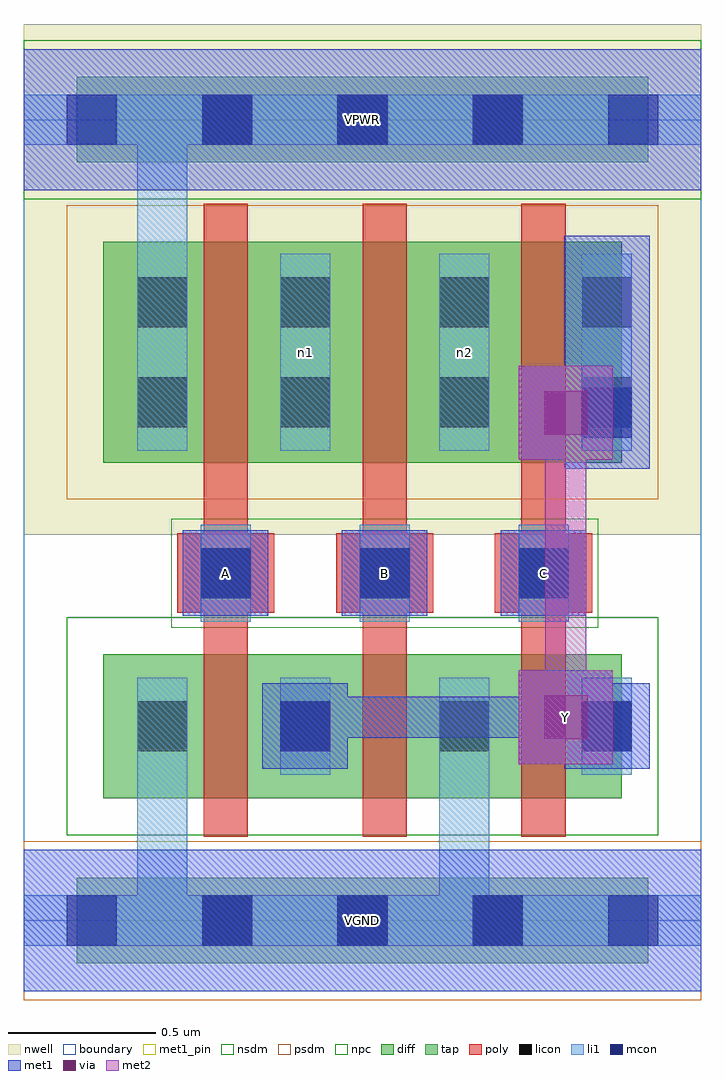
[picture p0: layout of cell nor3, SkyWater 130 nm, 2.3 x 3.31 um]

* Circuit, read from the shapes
.subckt nor3 A B C VGND VPWR Y n1 n2
XM1 Y A VGND VGND sky130_fd_pr__nfet_01v8 w=0.49 l=0.15
XM2 VGND B Y VGND sky130_fd_pr__nfet_01v8 w=0.49 l=0.15
XM3 Y C VGND VGND sky130_fd_pr__nfet_01v8 w=0.49 l=0.15
XM4 n1 A VPWR VPWR sky130_fd_pr__pfet_01v8 w=0.75 l=0.15
XM5 n2 B n1 VPWR sky130_fd_pr__pfet_01v8 w=0.75 l=0.15
XM6 Y C n2 VPWR sky130_fd_pr__pfet_01v8 w=0.75 l=0.15
.ends

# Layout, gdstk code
import gdstk
lib = gdstk.Library(unit=1e-6, precision=1e-09)
def R(c, l, rs):  # rectangles x0, y0, x1, y1
    for r in rs: c.add(gdstk.rectangle(r[:2], r[2:], *l))
def A(c, l, x, y, w, h, nx, ny, dx, dy):  # array of equal rectangles
    R(c, l, [(x+i*dx, y+j*dy, x+i*dx+w, y+j*dy+h) for i in range(nx) for j in range(ny)])
nwell = (64, 20)
diff = (65, 20)
tap = (65, 44)
poly = (66, 20)
licon = (66, 44)
li1 = (67, 20)
mcon = (67, 44)
met1_pin = (68, 16)
met1 = (68, 20)
via = (68, 44)
met2 = (69, 20)
nsdm = (93, 44)
psdm = (94, 20)
npc = (95, 20)
boundary = (235, 4)

nor3 = lib.new_cell('nor3')
R(nor3, nwell, [(0,1.31,2.3,3.045)])
R(nor3, diff, [(0.27,0.415,2.03,0.905), (0.27,1.555,2.03,2.305)])
R(nor3, tap, [(0.18,-0.145,2.12,0.145), (0.18,2.575,2.12,2.865)])
A(nor3, poly, 0.61, 0.285, 0.15, 2.15, 3, 1, 0.54, 0)
A(nor3, poly, 0.52, 1.045, 0.33, 0.27, 3, 1, 0.54, 0)
A(nor3, licon, 0.605, -0.085, 0.17, 0.17, 3, 2, 0.46, 2.72)
A(nor3, licon, 0.6, 1.095, 0.17, 0.17, 3, 1, 0.54, 0)
R(nor3, licon, [(0.385,0.575,0.555,0.745), (0.87,0.575,1.04,0.745), (1.41,0.575,1.58,0.745), (1.895,0.575,2.065,0.745), (0.385,1.675,0.555,1.845), (0.87,1.675,1.04,1.845), (1.41,1.675,1.58,1.845), (1.895,1.675,2.065,1.845), (0.385,2.015,0.555,2.185), (0.87,2.015,1.04,2.185), (1.41,2.015,1.58,2.185), (1.895,2.015,2.065,2.185)])
A(nor3, li1, 0.6, 1.015, 0.17, 0.33, 3, 1, 0.54, 0)
R(nor3, li1, [(0,-0.085,2.3,0.085), (0.385,-0.085,0.555,0.825), (1.41,-0.085,1.58,0.825), (0.385,0.495,0.555,0.825), (0.87,0.495,1.04,0.825), (1.41,0.495,1.58,0.825), (1.895,0.495,2.065,0.825), (0.385,1.595,0.555,2.265), (0.385,1.595,0.555,2.805), (0.87,1.595,1.04,2.265), (1.41,1.595,1.58,2.265), (1.895,1.595,2.065,2.265), (0,2.635,2.3,2.805)])
A(nor3, mcon, 0.145, -0.085, 0.17, 0.17, 5, 2, 0.46, 2.72)
A(nor3, mcon, 0.6, 1.095, 0.17, 0.17, 3, 1, 0.54, 0)
R(nor3, mcon, [(0.87,0.575,1.04,0.745), (1.895,0.575,2.065,0.745), (1.895,1.64,2.065,1.81)])
A(nor3, met1_pin, 0.54, 1.035, 0.29, 0.29, 3, 1, 0.54, 0)
R(nor3, met1_pin, [(0,-0.24,2.3,0.24), (1.68,0.53,2,0.85), (0,2.48,2.3,2.96)])
A(nor3, met1, 0.54, 1.035, 0.29, 0.29, 3, 1, 0.54, 0)
R(nor3, met1, [(0,-0.24,2.3,0.24), (0.81,0.515,1.1,0.805), (1.835,0.515,2.125,0.805), (1.68,0.53,2,0.85), (0.85,0.62,0.99,0.76), (0.85,0.62,2.025,0.76), (1.885,0.62,2.025,0.76), (1.835,1.535,2.125,2.325), (1.68,1.565,2,1.885), (1.835,1.58,2.125,1.87), (1.77,1.655,2.05,1.795), (1.77,1.655,2.025,1.795), (1.885,1.655,2.025,1.795), (0,2.48,2.3,2.96)])
R(nor3, via, [(1.765,0.615,1.915,0.765), (1.765,1.65,1.915,1.8)])
R(nor3, met2, [(1.68,0.53,2,0.85), (1.77,0.62,1.91,1.795), (1.68,1.565,2,1.885)])
R(nor3, nsdm, [(0.145,0.29,2.155,1.03), (0,2.45,2.3,2.99)])
R(nor3, psdm, [(0,-0.27,2.3,0.27), (0.145,1.43,2.155,2.43)])
R(nor3, npc, [(0.5,0.995,1.95,1.365)])
R(nor3, boundary, [(0,0,2.3,2.72)])
nor3.add(gdstk.Label('n1', (0.955,1.93), layer=67, texttype=5))
nor3.add(gdstk.Label('n2', (1.495,1.93), layer=67, texttype=5))
nor3.add(gdstk.Label('A', (0.685,1.18), layer=68, texttype=5))
nor3.add(gdstk.Label('B', (1.225,1.18), layer=68, texttype=5))
nor3.add(gdstk.Label('C', (1.765,1.18), layer=68, texttype=5))
nor3.add(gdstk.Label('Y', (1.84,0.69), layer=68, texttype=5))
nor3.add(gdstk.Label('VPWR', (1.15,2.72), layer=68, texttype=5))
nor3.add(gdstk.Label('VGND', (1.15,0), layer=68, texttype=5))
nor3.add(gdstk.Label('A', (0.685,1.18), layer=68, texttype=16))
nor3.add(gdstk.Label('B', (1.225,1.18), layer=68, texttype=16))
nor3.add(gdstk.Label('C', (1.765,1.18), layer=68, texttype=16))
nor3.add(gdstk.Label('Y', (1.84,0.69), layer=68, texttype=16))
nor3.add(gdstk.Label('VPWR', (1.15,2.72), layer=68, texttype=16))
nor3.add(gdstk.Label('VGND', (1.15,0), layer=68, texttype=16))

lib.write_gds('nor3.gds')
